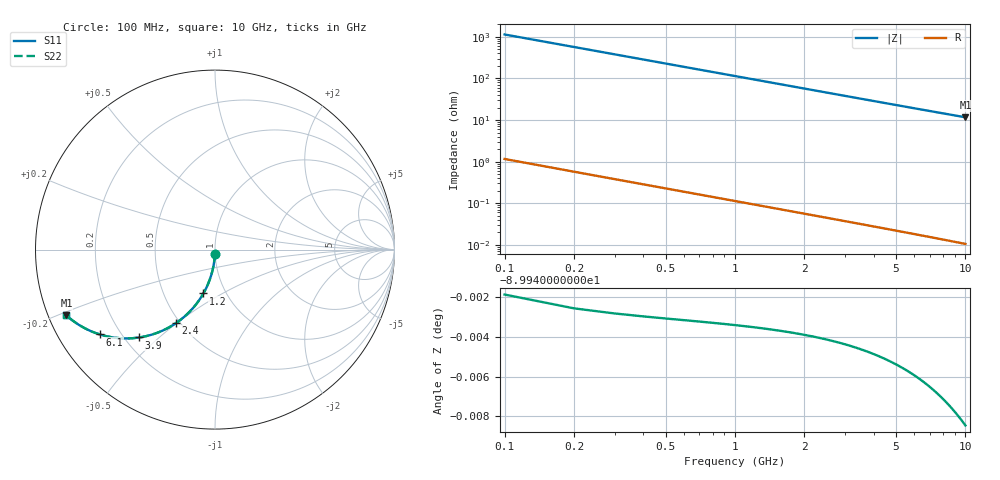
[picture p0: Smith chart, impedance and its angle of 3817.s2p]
# Hz S RI R 50.00
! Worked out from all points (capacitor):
!   100 points, 100 MHz to 10 GHz, reference 50 ohm
!   read as one part in shunt: C = 1.39 pF near 100 MHz
!   lowest |Z| = 11.6 ohm at 10 GHz (marker M1)
!   S11 on the Smith chart (normalised r, x): 100 MHz: 1.00, -0.04; 1.2 GHz: 0.78, -0.41; 2.4 GHz: 0.48, -0.50; 3.9 GHz: 0.26, -0.43; 6.1 GHz: 0.13, -0.32; 10 GHz: 0.05, -0.21
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1e8  -0.000457 -0.0218  0.9995 -0.022  0.9995 -0.022  -0.000457 -0.0218
2e8  -0.00191 -0.0435  0.998 -0.0439  0.998 -0.0439  -0.00191 -0.0435
3e8  -0.00432 -0.0651  0.9956 -0.0657  0.9956 -0.0657  -0.00432 -0.0651
4e8  -0.00766 -0.0865  0.9922 -0.0874  0.9922 -0.0874  -0.00766 -0.0865
5e8  -0.0119 -0.1077  0.988 -0.1087  0.988 -0.1087  -0.0119 -0.1077
6e8  -0.0171 -0.1286  0.9828 -0.1298  0.9828 -0.1298  -0.0171 -0.1286
7e8  -0.0231 -0.1491  0.9768 -0.1505  0.9768 -0.1505  -0.0231 -0.1491
9e8  -0.0375 -0.1888  0.9624 -0.1906  0.9624 -0.1906  -0.0375 -0.1888
1.2e9  -0.0648 -0.2445  0.9351 -0.247  0.9351 -0.247  -0.0648 -0.2445
1.5e9  -0.0976 -0.2948  0.9023 -0.2979  0.9023 -0.2979  -0.0976 -0.2948
1.8e9  -0.1347 -0.3391  0.8652 -0.3428  0.8652 -0.3428  -0.1347 -0.3391
2.1e9  -0.1748 -0.3772  0.8251 -0.3815  0.8251 -0.3815  -0.1748 -0.3772
2.4e9  -0.2167 -0.409  0.7832 -0.414  0.7832 -0.414  -0.2167 -0.409
2.9e9  -0.2876 -0.4492  0.7123 -0.4551  0.7123 -0.4551  -0.2876 -0.4492
3.4e9  -0.3568 -0.4751  0.6431 -0.4821  0.6431 -0.4821  -0.3568 -0.4751
3.9e9  -0.4218 -0.4893  0.5781 -0.4974  0.5781 -0.4974  -0.4218 -0.4893
5.1e9  -0.555 -0.4912  0.4449 -0.5017  0.4449 -0.5017  -0.555 -0.4912
6.1e9  -0.6408 -0.4729  0.359 -0.4855  0.359 -0.4855  -0.6408 -0.4729
6.7e9  -0.6828 -0.4579  0.317 -0.4718  0.317 -0.4718  -0.6828 -0.4579
7.5e9  -0.7296 -0.4358  0.2701 -0.4514  0.2701 -0.4514  -0.7296 -0.4358
8.4e9  -0.7721 -0.4101  0.2277 -0.4277  0.2277 -0.4277  -0.7721 -0.4101
1e10  -0.8278 -0.3663  0.1718 -0.3874  0.1718 -0.3874  -0.8278 -0.3663
